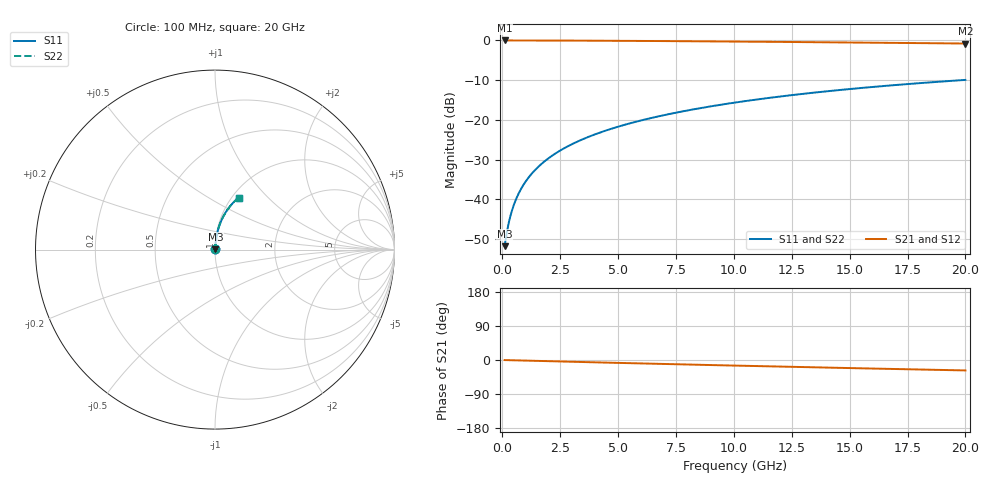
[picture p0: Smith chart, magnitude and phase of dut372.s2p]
! Touchstone file exported from HFSS 2024.1.0
!  File:  C:/UserFiles/LocalFiles/RDL_TSV_Batchsim/temp_RDL_bottom_372_1779613368.aedt
!  Generated:  05:05:55 PM May 24, 2026
!  Design:  RDL_bottom
!  Project:  temp_RDL_bottom_372_1779613368
!  Setup:  Setup1
!  Solution:  Sweep
! Variables:
!  dtsv = 10.80580581um
!  hbump = 3um
!  htsv = 97.95um
!  ldown = 343.74um
!  lrdl = 100um
!  p = 40
!  p1 = 48.47um
!  rhole = 1um
!  t = 450um
!  tdown = 4.65um
!  trdl = 3.915915916um
!  wdown = 14.32um
!  wrdl = 20um
# GHz S MA R 50.000000
! Terminal data exported
! Port[1] = RDL1_T1
! Port[2] = RDL1_T2
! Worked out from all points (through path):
!   200 points, 100 MHz to 20 GHz, reference 50 ohm
!   highest |S21| = -0.02 dB at 100 MHz (marker M1); lowest = -0.8 dB at 20 GHz (marker M2)
!   group delay of S21, straight-line fit = 3.81 ps
!   lowest |S11| = -51.7 dB at 100 MHz (marker M3), VSWR 1.01, Z = 50.2 + j0.172 ohm
!   |S11| at or under -10 dB: start of sweep to 19.83 GHz
!   |S22| runs from -51.7 to -9.9 dB; largest |S21 - S12| = 3.6e-15
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0.1  0.002589 41.5  0.9981 -0.2  0.9981 -0.2  0.002589 41.5
! Gamma 0 0 0 0
! Port Impedance 50 0 50 0
0.2  0.003934 59.4  0.998 -0.3  0.998 -0.3  0.003934 59.4
0.3  0.005436 67.8  0.9979 -0.5  0.9979 -0.5  0.005436 67.8
0.4  0.006993 72.5  0.9978 -0.6  0.9978 -0.6  0.006993 72.5
0.5  0.00858 75.5  0.9978 -0.8  0.9978 -0.8  0.00858 75.5
0.6  0.01018 77.6  0.9977 -0.9  0.9977 -0.9  0.01018 77.6
0.8  0.01342 80.1  0.9975 -1.3  0.9975 -1.3  0.01342 80.1
1.1  0.01831 82.1  0.9972 -1.7  0.9972 -1.7  0.01831 82.1
1.5  0.02486 83.4  0.9968 -2.3  0.9968 -2.3  0.02486 83.4
1.8  0.02978 83.8  0.9963 -2.8  0.9963 -2.8  0.02978 83.8
2.1  0.03469 84.1  0.9958 -3.3  0.9958 -3.3  0.03469 84.1
2.7  0.04452 84.1  0.9946 -4.2  0.9946 -4.2  0.04452 84.1
3.5  0.05762 83.9  0.9927 -5.4  0.9927 -5.4  0.05762 83.9
4.2  0.06909 83.5  0.9906 -6.5  0.9906 -6.5  0.06909 83.5
5  0.08221 82.9  0.988 -7.6  0.988 -7.6  0.08221 82.9
5.9  0.09702 82.1  0.9847 -9.0  0.9847 -9.0  0.09702 82.1
6.8  0.1118 81.3  0.9812 -10.3  0.9812 -10.3  0.1118 81.3
8.3  0.1366 79.7  0.9748 -12.4  0.9748 -12.4  0.1366 79.7
10.1  0.1662 77.7  0.9665 -14.8  0.9665 -14.8  0.1662 77.7
13.4  0.2195 73.7  0.95 -19.2  0.95 -19.2  0.2194 73.7
16.7  0.2705 69.6  0.932 -23.5  0.932 -23.5  0.2705 69.6
20  0.3186 65.5  0.913 -27.5  0.913 -27.5  0.3186 65.5
